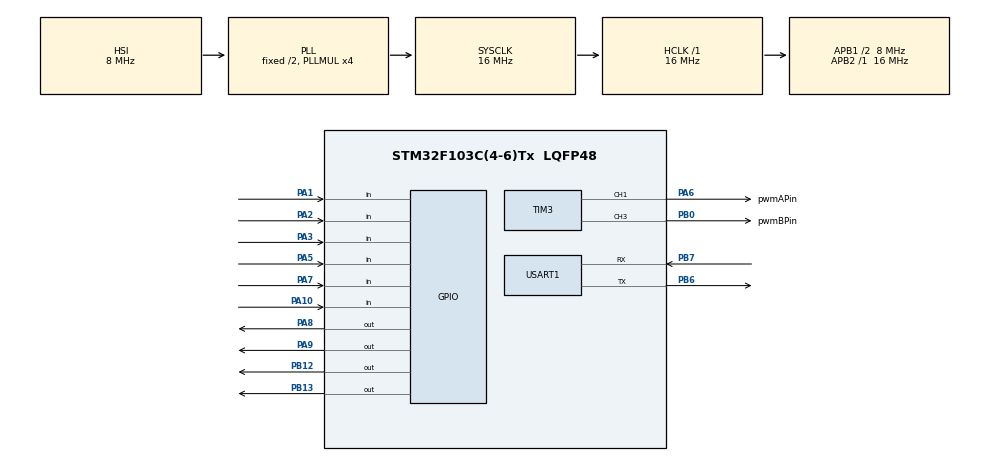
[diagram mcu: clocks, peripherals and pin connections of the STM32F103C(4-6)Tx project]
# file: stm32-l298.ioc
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Mcu.Family=STM32F1
Mcu.Name=STM32F103C(4-6)Tx
Mcu.Package=LQFP48
NVIC.PriorityGroup=NVIC_PRIORITYGROUP_4
PA1.Signal=GPIO_Input
PA10.Signal=GPIO_Input
PA2.Signal=GPIO_Input
PA3.Signal=GPIO_Input
PA5.Signal=GPIO_Input
PA6.GPIO_Label=pwmAPin
PA6.Signal=S_TIM3_CH1
PA7.Signal=GPIO_Input
PA8.Signal=GPIO_Output
PA9.Signal=GPIO_Output
PB0.GPIO_Label=pwmBPin
PB0.Signal=S_TIM3_CH3
PB12.Signal=GPIO_Output
PB13.Signal=GPIO_Output
PB6.Mode=Asynchronous
PB6.Signal=USART1_TX
PB7.Mode=Asynchronous
PB7.Signal=USART1_RX
ProjectManager.HeapSize=0x200
ProjectManager.StackSize=0x400
ProjectManager.TargetToolchain=STM32CubeIDE
RCC.AHBFreq_Value=16000000
RCC.APB1CLKDivider=RCC_HCLK_DIV2
RCC.APB1Freq_Value=8000000
RCC.APB1TimFreq_Value=16000000
RCC.APB2Freq_Value=16000000
RCC.APB2TimFreq_Value=16000000
RCC.HCLKFreq_Value=16000000
RCC.PLLMUL=RCC_PLL_MUL4
RCC.SYSCLKFreq_VALUE=16000000
RCC.SYSCLKSource=RCC_SYSCLKSOURCE_PLLCLK
RCC.USBFreq_Value=16000000
SH.S_TIM3_CH1.0=TIM3_CH1,PWM Generation1 CH1
SH.S_TIM3_CH3.0=TIM3_CH3,PWM Generation3 CH3
TIM3.Channel-PWM\ Generation1\ CH1=TIM_CHANNEL_1
TIM3.Channel-PWM\ Generation3\ CH3=TIM_CHANNEL_3
USART1.VirtualMode=VM_ASYNC
VP_SYS_VS_ND.Mode=No_Debug
VP_TIM3_VS_ClockSourceINT.Mode=Internal
board=custom

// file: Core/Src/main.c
/* USER CODE BEGIN Header */
/**
  ******************************************************************************
  * @file           : main.c
  * @brief          : Main program body
  ******************************************************************************
  * @attention
  *
  * Copyright (c) 2024 STMicroelectronics.
  * All rights reserved.
  *
  * This software is licensed under terms that can be found in the LICENSE file
  * in the root directory of this software component.
  * If no LICENSE file comes with this software, it is provided AS-IS.
  *
  ******************************************************************************
  */
/* USER CODE END Header */
#include "main.h"

/* USER CODE BEGIN Includes */
#include <stdlib.h>
#include <stdio.h>
#include <string.h>
/* USER CODE END Includes */

/* USER CODE BEGIN PD */
// Key pins
#define KEY_PLUS_A_PIN GPIO_PIN_10
#define KEY_MINUS_A_PIN GPIO_PIN_1
#define KEY_BREAK_A_PIN GPIO_PIN_5
#define KEY_PLUS_B_PIN GPIO_PIN_2
#define KEY_MINUS_B_PIN GPIO_PIN_3
#define KEY_BREAK_B_PIN GPIO_PIN_7

// Motor Shield Pins
#define PWM_A_PIN GPIO_PIN_6
#define PWM_B_PIN GPIO_PIN_0
#define DIR_A_PIN GPIO_PIN_12
#define DIR_B_PIN GPIO_PIN_13
#define BRAKE_A_PIN GPIO_PIN_8
#define BRAKE_B_PIN GPIO_PIN_9

// PWM configuration
#define TIM_CLOCK_FREQ 16000000  // TIM3 clock frequency (assuming 72MHz system clock)
#define PWM_FREQUENCY 50        // Desired PWM frequency in Hz
#define TIM_PERIOD (TIM_CLOCK_FREQ / PWM_FREQUENCY) - 1
/* USER CODE END PD */

TIM_HandleTypeDef htim3;

UART_HandleTypeDef huart1;

/* USER CODE BEGIN PV */
// Motors Speed
int16_t speedA = 0;
int16_t speedB = 0;

// Old keys state for events triggering
uint8_t oldPlusA = 0, oldMinusA = 0, oldBreakA = 0;
uint8_t oldPlusB = 0, oldMinusB = 0, oldBreakB = 0;
/* USER CODE END PV */

void SystemClock_Config(void);
static void MX_GPIO_Init(void);
static void MX_TIM3_Init(void);
static void MX_USART1_UART_Init(void);

/* USER CODE BEGIN 0 */
void checkKeys(void)
{
    // Keys Trigger
    uint8_t plusA = HAL_GPIO_ReadPin(GPIOA, KEY_PLUS_A_PIN) ? 0 : 1;
    if (plusA == oldPlusA)
        plusA = 0;
    else
        oldPlusA = plusA;

    uint8_t minusA = HAL_GPIO_ReadPin(GPIOA, KEY_MINUS_A_PIN) ? 0 : 1;
    if (minusA == oldMinusA)
        minusA = 0;
    else
        oldMinusA = minusA;

    uint8_t breakA = HAL_GPIO_ReadPin(GPIOA, KEY_BREAK_A_PIN) ? 0 : 1;
    if (breakA == oldBreakA)
        breakA = 0;
    else
        oldBreakA = breakA;

    uint8_t plusB = HAL_GPIO_ReadPin(GPIOA, KEY_PLUS_B_PIN) ? 0 : 1;
    if (plusB == oldPlusB)
        plusB = 0;
    else
        oldPlusB = plusB;

    uint8_t minusB = HAL_GPIO_ReadPin(GPIOA, KEY_MINUS_B_PIN) ? 0 : 1;
    if (minusB == oldMinusB)
        minusB = 0;
    else
        oldMinusB = minusB;

    uint8_t breakB = HAL_GPIO_ReadPin(GPIOA, KEY_BREAK_B_PIN) ? 0 : 1;
    if (breakB == oldBreakB)
        breakB = 0;
    else
        oldBreakB = breakB;

    // Keys Reaction
    if (plusA)
    {
        speedA += 50;
        if (speedA > 250)
            speedA = 250;
    }
    if (minusA)
    {
        speedA -= 50;
        if (speedA < -250)
            speedA = -250;
    }
    if (breakA)
        speedA = 0;
    if (plusB)
    {
        speedB += 50;
        if (speedB > 250)
            speedB = 250;
    }
    if (minusB)
    {
        speedB -= 50;
        if (speedB < -250)
            speedB = -250;
    }
    if (breakB)
        speedB = 0;
}

void updateMotors(void)
{
	 // Speed
	    __HAL_TIM_SET_COMPARE(&htim3, TIM_CHANNEL_1, (uint32_t)(abs(speedA) * TIM_PERIOD / 255));
	    __HAL_TIM_SET_COMPARE(&htim3, TIM_CHANNEL_3, (uint32_t)(abs(speedB) * TIM_PERIOD / 255));

    // Direction
    HAL_GPIO_WritePin(GPIOB, DIR_A_PIN, (speedA > 0) ? GPIO_PIN_SET : GPIO_PIN_RESET);
    HAL_GPIO_WritePin(GPIOB, DIR_B_PIN, (speedB > 0) ? GPIO_PIN_SET : GPIO_PIN_RESET);

    // Brake On/Off
    HAL_GPIO_WritePin(GPIOA, BRAKE_A_PIN, (speedA == 0) ? GPIO_PIN_SET : GPIO_PIN_RESET);
    HAL_GPIO_WritePin(GPIOA, BRAKE_B_PIN, (speedB == 0) ? GPIO_PIN_SET : GPIO_PIN_RESET);
}

void printSpeeds(void)
{
    char buffer[50];
    int len = sprintf(buffer, "Speed A = %d B = %d\r\n", speedA, speedB);
    HAL_UART_Transmit(&huart1, (uint8_t*)buffer, len, HAL_MAX_DELAY);
}

/* USER CODE END 0 */

int main(void)
{

  /* MCU Configuration--------------------------------------------------------*/

  /* Reset of all peripherals, Initializes the Flash interface and the Systick. */
  HAL_Init();

  /* Configure the system clock */
  SystemClock_Config();

  /* Initialize all configured peripherals */
  MX_GPIO_Init();
  MX_TIM3_Init();
  MX_USART1_UART_Init();
  /* USER CODE BEGIN 2 */
  // Start PWM.
  HAL_TIM_PWM_Start(&htim3, TIM_CHANNEL_3);
  HAL_TIM_PWM_Start(&htim3, TIM_CHANNEL_1);

  /* USER CODE END 2 */

  /* Infinite loop */
  while (1)
  {

    /* USER CODE BEGIN 3 */
	  int16_t oldSpeedA = speedA;
	  int16_t oldSpeedB = speedB;

	  checkKeys();
	  updateMotors();

	  if (speedA != oldSpeedA || speedB != oldSpeedB)
	  {
		  printSpeeds();
	  }

	  HAL_Delay(10);  // Small delay to prevent too rapid updates
  }
  /* USER CODE END 3 */
}

void SystemClock_Config(void)
{
  RCC_OscInitTypeDef RCC_OscInitStruct = {0};
  RCC_ClkInitTypeDef RCC_ClkInitStruct = {0};

  /** Initializes the RCC Oscillators according to the specified parameters
  * in the RCC_OscInitTypeDef structure.
  */
  RCC_OscInitStruct.OscillatorType = RCC_OSCILLATORTYPE_HSI;
  RCC_OscInitStruct.HSIState = RCC_HSI_ON;
  RCC_OscInitStruct.HSICalibrationValue = RCC_HSICALIBRATION_DEFAULT;
  RCC_OscInitStruct.PLL.PLLState = RCC_PLL_ON;
  RCC_OscInitStruct.PLL.PLLSource = RCC_PLLSOURCE_HSI_DIV2;
  RCC_OscInitStruct.PLL.PLLMUL = RCC_PLL_MUL4;
  if (HAL_RCC_OscConfig(&RCC_OscInitStruct) != HAL_OK)
  {
    Error_Handler();
  }

  /** Initializes the CPU, AHB and APB buses clocks
  */
  RCC_ClkInitStruct.ClockType = RCC_CLOCKTYPE_HCLK|RCC_CLOCKTYPE_SYSCLK
                              |RCC_CLOCKTYPE_PCLK1|RCC_CLOCKTYPE_PCLK2;
  RCC_ClkInitStruct.SYSCLKSource = RCC_SYSCLKSOURCE_PLLCLK;
  RCC_ClkInitStruct.AHBCLKDivider = RCC_SYSCLK_DIV1;
  RCC_ClkInitStruct.APB1CLKDivider = RCC_HCLK_DIV2;
  RCC_ClkInitStruct.APB2CLKDivider = RCC_HCLK_DIV1;

  if (HAL_RCC_ClockConfig(&RCC_ClkInitStruct, FLASH_LATENCY_0) != HAL_OK)
  {
    Error_Handler();
  }
}

static void MX_TIM3_Init(void)
{

  TIM_ClockConfigTypeDef sClockSourceConfig = {0};
  TIM_MasterConfigTypeDef sMasterConfig = {0};
  TIM_OC_InitTypeDef sConfigOC = {0};

  htim3.Instance = TIM3;
  htim3.Init.Prescaler = 0;
  htim3.Init.CounterMode = TIM_COUNTERMODE_UP;
  htim3.Init.Period = TIM_PERIOD;
  htim3.Init.ClockDivision = TIM_CLOCKDIVISION_DIV1;
  htim3.Init.AutoReloadPreload = TIM_AUTORELOAD_PRELOAD_DISABLE;
  if (HAL_TIM_Base_Init(&htim3) != HAL_OK)
  {
    Error_Handler();
  }
  sClockSourceConfig.ClockSource = TIM_CLOCKSOURCE_INTERNAL;
  if (HAL_TIM_ConfigClockSource(&htim3, &sClockSourceConfig) != HAL_OK)
  {
    Error_Handler();
  }
  if (HAL_TIM_PWM_Init(&htim3) != HAL_OK)
  {
    Error_Handler();
  }
  sMasterConfig.MasterOutputTrigger = TIM_TRGO_RESET;
  sMasterConfig.MasterSlaveMode = TIM_MASTERSLAVEMODE_DISABLE;
  if (HAL_TIMEx_MasterConfigSynchronization(&htim3, &sMasterConfig) != HAL_OK)
  {
    Error_Handler();
  }
  sConfigOC.OCMode = TIM_OCMODE_PWM1;
  sConfigOC.Pulse = 0;
  sConfigOC.OCPolarity = TIM_OCPOLARITY_HIGH;
  sConfigOC.OCFastMode = TIM_OCFAST_DISABLE;
  if (HAL_TIM_PWM_ConfigChannel(&htim3, &sConfigOC, TIM_CHANNEL_1) != HAL_OK)
  {
    Error_Handler();
  }
  if (HAL_TIM_PWM_ConfigChannel(&htim3, &sConfigOC, TIM_CHANNEL_3) != HAL_OK)
  {
    Error_Handler();
  }
  HAL_TIM_MspPostInit(&htim3);

}

static void MX_USART1_UART_Init(void)
{

  huart1.Instance = USART1;
  huart1.Init.BaudRate = 115200;
  huart1.Init.WordLength = UART_WORDLENGTH_8B;
  huart1.Init.StopBits = UART_STOPBITS_1;
  huart1.Init.Parity = UART_PARITY_NONE;
  huart1.Init.Mode = UART_MODE_TX_RX;
  huart1.Init.HwFlowCtl = UART_HWCONTROL_NONE;
  huart1.Init.OverSampling = UART_OVERSAMPLING_16;
  if (HAL_UART_Init(&huart1) != HAL_OK)
  {
    Error_Handler();
  }

}

static void MX_GPIO_Init(void)
{
  GPIO_InitTypeDef GPIO_InitStruct = {0};

  /* GPIO Ports Clock Enable */
  __HAL_RCC_GPIOA_CLK_ENABLE();
  __HAL_RCC_GPIOB_CLK_ENABLE();

  /*Configure GPIO pin Output Level */
  HAL_GPIO_WritePin(GPIOB, GPIO_PIN_12|GPIO_PIN_13, GPIO_PIN_RESET);

  /*Configure GPIO pin Output Level */
  HAL_GPIO_WritePin(GPIOA, GPIO_PIN_8|GPIO_PIN_9, GPIO_PIN_RESET);

  /*Configure GPIO pins : PA1 PA2 PA3 PA5
                           PA7 PA10 */
  GPIO_InitStruct.Pin = GPIO_PIN_1|GPIO_PIN_2|GPIO_PIN_3|GPIO_PIN_5
                          |GPIO_PIN_7|GPIO_PIN_10;
  GPIO_InitStruct.Mode = GPIO_MODE_INPUT;
  GPIO_InitStruct.Pull = GPIO_NOPULL;
  HAL_GPIO_Init(GPIOA, &GPIO_InitStruct);

  /*Configure GPIO pins : PB12 PB13 */
  GPIO_InitStruct.Pin = GPIO_PIN_12|GPIO_PIN_13;
  GPIO_InitStruct.Mode = GPIO_MODE_OUTPUT_PP;
  GPIO_InitStruct.Pull = GPIO_NOPULL;
  GPIO_InitStruct.Speed = GPIO_SPEED_FREQ_LOW;
  HAL_GPIO_Init(GPIOB, &GPIO_InitStruct);

  /*Configure GPIO pins : PA8 PA9 */
  GPIO_InitStruct.Pin = GPIO_PIN_8|GPIO_PIN_9;
  GPIO_InitStruct.Mode = GPIO_MODE_OUTPUT_PP;
  GPIO_InitStruct.Pull = GPIO_NOPULL;
  GPIO_InitStruct.Speed = GPIO_SPEED_FREQ_LOW;
  HAL_GPIO_Init(GPIOA, &GPIO_InitStruct);

}

void Error_Handler(void)
{
  __disable_irq();
  while (1)
  {
  }
}
